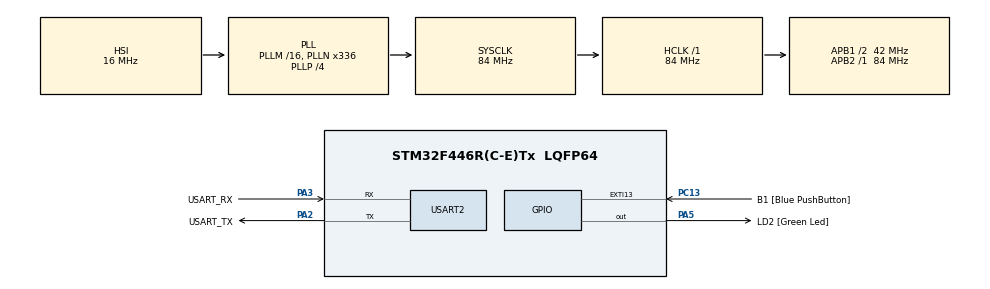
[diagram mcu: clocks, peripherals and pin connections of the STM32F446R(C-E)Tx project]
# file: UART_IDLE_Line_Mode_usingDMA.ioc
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Dma.Request0=USART2_RX
Dma.USART2_RX.0.Direction=DMA_PERIPH_TO_MEMORY
Dma.USART2_RX.0.FIFOMode=DMA_FIFOMODE_DISABLE
Dma.USART2_RX.0.Instance=DMA1_Stream5
Dma.USART2_RX.0.MemDataAlignment=DMA_MDATAALIGN_BYTE
Dma.USART2_RX.0.MemInc=DMA_MINC_ENABLE
Dma.USART2_RX.0.Mode=DMA_CIRCULAR
Dma.USART2_RX.0.PeriphDataAlignment=DMA_PDATAALIGN_BYTE
Dma.USART2_RX.0.PeriphInc=DMA_PINC_DISABLE
Dma.USART2_RX.0.Priority=DMA_PRIORITY_LOW
Mcu.Family=STM32F4
Mcu.Name=STM32F446R(C-E)Tx
Mcu.Package=LQFP64
NVIC.DMA1_Stream5_IRQn=true\:0\:0\:false\:false\:true\:false\:true\:true
NVIC.PriorityGroup=NVIC_PRIORITYGROUP_0
PA13.GPIO_Label=TMS
PA13.Mode=Serial_Wire
PA13.Signal=SYS_JTMS-SWDIO
PA14.GPIO_Label=TCK
PA14.Mode=Serial_Wire
PA14.Signal=SYS_JTCK-SWCLK
PA2.GPIO_Label=USART_TX
PA2.Mode=Asynchronous
PA2.Signal=USART2_TX
PA3.GPIO_Label=USART_RX
PA3.Mode=Asynchronous
PA3.Signal=USART2_RX
PA5.GPIO_Label=LD2 [Green Led]
PA5.Signal=GPIO_Output
PB3.GPIO_Label=SWO
PB3.Signal=SYS_JTDO-SWO
PC13.GPIO_Label=B1 [Blue PushButton]
PC13.GPIO_ModeDefaultEXTI=GPIO_MODE_IT_FALLING
PC13.Signal=GPXTI13
PC14-OSC32_IN.Mode=LSE-External-Oscillator
PC14-OSC32_IN.Signal=RCC_OSC32_IN
PC15-OSC32_OUT.Mode=LSE-External-Oscillator
PC15-OSC32_OUT.Signal=RCC_OSC32_OUT
PH0-OSC_IN.Mode=HSE-External-Oscillator
PH0-OSC_IN.Signal=RCC_OSC_IN
PH1-OSC_OUT.Mode=HSE-External-Oscillator
PH1-OSC_OUT.Signal=RCC_OSC_OUT
ProjectManager.HeapSize=0x200
ProjectManager.StackSize=0x400
ProjectManager.TargetToolchain=STM32CubeIDE
RCC.48MHZClocksFreq_Value=84000000
RCC.AHBFreq_Value=84000000
RCC.APB1CLKDivider=RCC_HCLK_DIV2
RCC.APB1Freq_Value=42000000
RCC.APB1TimFreq_Value=84000000
RCC.APB2Freq_Value=84000000
RCC.APB2TimFreq_Value=84000000
RCC.CortexFreq_Value=84000000
RCC.FLatency-AdvancedSettings=FLASH_LATENCY_2
RCC.HCLKFreq_Value=84000000
RCC.HSE_VALUE=8000000
RCC.HSI_VALUE=16000000
RCC.PLLN=336
RCC.PLLP=RCC_PLLP_DIV4
RCC.SYSCLKFreq_VALUE=84000000
RCC.SYSCLKSource=RCC_SYSCLKSOURCE_PLLCLK
RCC.USBFreq_Value=168000000
RCC.VCOOutputFreq_Value=336000000
USART2.VirtualMode=VM_ASYNC
board=NUCLEO-F446RE

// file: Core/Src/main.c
/* USER CODE BEGIN Header */
/**
  ******************************************************************************
  * @file           : main.c
  * @brief          : Main program body
  ******************************************************************************
  * @attention
  *
  * Copyright (c) 2024 STMicroelectronics.
  * All rights reserved.
  *
  * This software is licensed under terms that can be found in the LICENSE file
  * in the root directory of this software component.
  * If no LICENSE file comes with this software, it is provided AS-IS.
  *
  ******************************************************************************
  */
/* USER CODE END Header */
#include "main.h"

#define RXSIZE 256

UART_HandleTypeDef huart2;
DMA_HandleTypeDef hdma_usart2_rx;

/* USER CODE BEGIN PV */
uint8_t RxData[RXSIZE];
uint8_t FinalBuf[4096];
uint16_t indx1 = 0, indx2=0, rxcplt=0;
int count = 0;
/* USER CODE END PV */

void SystemClock_Config(void);
static void MX_GPIO_Init(void);
static void MX_DMA_Init(void);
static void MX_USART2_UART_Init(void);

int main(void)
{

  /* MCU Configuration--------------------------------------------------------*/

  /* Reset of all peripherals, Initializes the Flash interface and the Systick. */
  HAL_Init();

  /* Configure the system clock */
  SystemClock_Config();

  /* Initialize all configured peripherals */
  MX_GPIO_Init();
  MX_DMA_Init();
  MX_USART2_UART_Init();
  /* USER CODE BEGIN 2 */
  HAL_UARTEx_ReceiveToIdle_DMA(&huart2, RxData, RXSIZE);
  /* USER CODE END 2 */

  /* Infinite loop */
  while (1)
  {
	  //HAL_GPIO_WritePin(GPIOA, GPIO_PIN_5, GPIO_PIN_SET);
	  HAL_GPIO_TogglePin(GPIOA, GPIO_PIN_5);
	  HAL_Delay(1000);
  }
}

void SystemClock_Config(void)
{
  RCC_OscInitTypeDef RCC_OscInitStruct = {0};
  RCC_ClkInitTypeDef RCC_ClkInitStruct = {0};

  /** Configure the main internal regulator output voltage
  */
  __HAL_RCC_PWR_CLK_ENABLE();
  __HAL_PWR_VOLTAGESCALING_CONFIG(PWR_REGULATOR_VOLTAGE_SCALE3);

  /** Initializes the RCC Oscillators according to the specified parameters
  * in the RCC_OscInitTypeDef structure.
  */
  RCC_OscInitStruct.OscillatorType = RCC_OSCILLATORTYPE_HSI;
  RCC_OscInitStruct.HSIState = RCC_HSI_ON;
  RCC_OscInitStruct.HSICalibrationValue = RCC_HSICALIBRATION_DEFAULT;
  RCC_OscInitStruct.PLL.PLLState = RCC_PLL_ON;
  RCC_OscInitStruct.PLL.PLLSource = RCC_PLLSOURCE_HSI;
  RCC_OscInitStruct.PLL.PLLM = 16;
  RCC_OscInitStruct.PLL.PLLN = 336;
  RCC_OscInitStruct.PLL.PLLP = RCC_PLLP_DIV4;
  RCC_OscInitStruct.PLL.PLLQ = 2;
  RCC_OscInitStruct.PLL.PLLR = 2;
  if (HAL_RCC_OscConfig(&RCC_OscInitStruct) != HAL_OK)
  {
    Error_Handler();
  }

  /** Initializes the CPU, AHB and APB buses clocks
  */
  RCC_ClkInitStruct.ClockType = RCC_CLOCKTYPE_HCLK|RCC_CLOCKTYPE_SYSCLK
                              |RCC_CLOCKTYPE_PCLK1|RCC_CLOCKTYPE_PCLK2;
  RCC_ClkInitStruct.SYSCLKSource = RCC_SYSCLKSOURCE_PLLCLK;
  RCC_ClkInitStruct.AHBCLKDivider = RCC_SYSCLK_DIV1;
  RCC_ClkInitStruct.APB1CLKDivider = RCC_HCLK_DIV2;
  RCC_ClkInitStruct.APB2CLKDivider = RCC_HCLK_DIV1;

  if (HAL_RCC_ClockConfig(&RCC_ClkInitStruct, FLASH_LATENCY_2) != HAL_OK)
  {
    Error_Handler();
  }
}

static void MX_USART2_UART_Init(void)
{

  huart2.Instance = USART2;
  huart2.Init.BaudRate = 115200;
  huart2.Init.WordLength = UART_WORDLENGTH_8B;
  huart2.Init.StopBits = UART_STOPBITS_1;
  huart2.Init.Parity = UART_PARITY_NONE;
  huart2.Init.Mode = UART_MODE_TX_RX;
  huart2.Init.HwFlowCtl = UART_HWCONTROL_NONE;
  huart2.Init.OverSampling = UART_OVERSAMPLING_16;
  if (HAL_UART_Init(&huart2) != HAL_OK)
  {
    Error_Handler();
  }

}

static void MX_DMA_Init(void)
{

  /* DMA controller clock enable */
  __HAL_RCC_DMA1_CLK_ENABLE();

  /* DMA interrupt init */
  /* DMA1_Stream5_IRQn interrupt configuration */
  HAL_NVIC_SetPriority(DMA1_Stream5_IRQn, 0, 0);
  HAL_NVIC_EnableIRQ(DMA1_Stream5_IRQn);

}

static void MX_GPIO_Init(void)
{
  GPIO_InitTypeDef GPIO_InitStruct = {0};

  /* GPIO Ports Clock Enable */
  __HAL_RCC_GPIOC_CLK_ENABLE();
  __HAL_RCC_GPIOH_CLK_ENABLE();
  __HAL_RCC_GPIOA_CLK_ENABLE();
  __HAL_RCC_GPIOB_CLK_ENABLE();

  /*Configure GPIO pin Output Level */
  HAL_GPIO_WritePin(LD2_GPIO_Port, LD2_Pin, GPIO_PIN_RESET);

  /*Configure GPIO pin : B1_Pin */
  GPIO_InitStruct.Pin = B1_Pin;
  GPIO_InitStruct.Mode = GPIO_MODE_IT_FALLING;
  GPIO_InitStruct.Pull = GPIO_NOPULL;
  HAL_GPIO_Init(B1_GPIO_Port, &GPIO_InitStruct);

  /*Configure GPIO pin : LD2_Pin */
  GPIO_InitStruct.Pin = LD2_Pin;
  GPIO_InitStruct.Mode = GPIO_MODE_OUTPUT_PP;
  GPIO_InitStruct.Pull = GPIO_NOPULL;
  GPIO_InitStruct.Speed = GPIO_SPEED_FREQ_LOW;
  HAL_GPIO_Init(LD2_GPIO_Port, &GPIO_InitStruct);

}

/* USER CODE BEGIN 4 */
void HAL_UARTEx_RxEventCallback(UART_HandleTypeDef *huart, uint16_t Size)
{
  /* Prevent unused argument(s) compilation warning */
  UNUSED(huart);
  UNUSED(Size);

  memcpy (FinalBuf+indx2, RxData+indx1, Size);
  	if (Size == RXSIZE)
  	{
  		rxcplt++;
  		indx2 = RXSIZE*rxcplt;
  		indx1=0;
  	}
  	else
  	{
  		indx2 = indx2 + (Size-indx1);
  		indx1 = Size;
  	}
  /* NOTE : This function should not be modified, when the callback is needed,
            the HAL_UARTEx_RxEventCallback can be implemented in the user file.
   */
}
/* USER CODE END 4 */

void Error_Handler(void)
{
  __disable_irq();
  while (1)
  {
  }
}
